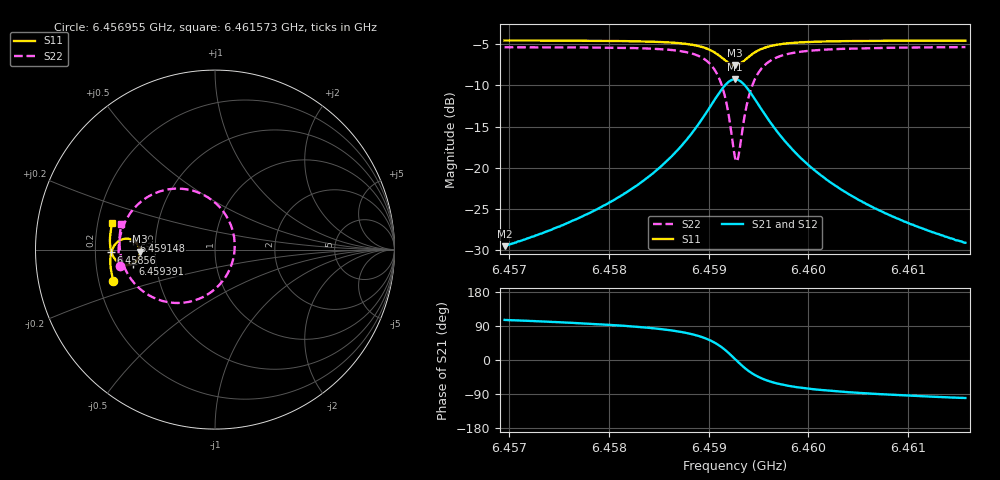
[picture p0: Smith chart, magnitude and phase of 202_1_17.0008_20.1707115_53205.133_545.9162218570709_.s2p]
#  HZ  S  RI  R  50.00
! Rohde & Schwarz Vector Network Analyzer
! Rohde-Schwarz,ZNB20-2Port,1311601062101988,3.16
! Created: UTC 3/20/2024, 11:01:06 PM
! freq[Hz]  re:S11  im:S11  re:S21  im:S21  re:S12  im:S12  re:S22  im:S22
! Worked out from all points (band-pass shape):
!   401 points, 6.456955 GHz to 6.461573 GHz, reference 50 ohm
!   highest |S21| = -9.26 dB at 6.459264 GHz (marker M1); lowest = -29.5 dB at 6.456955 GHz (marker M2)
!   |S21| within 3 dB of the highest: 6.459033 GHz to 6.459494 GHz (461.6 kHz wide, 0.00715 % of centre)
!   lowest |S11| = -7.6 dB at 6.459264 GHz (marker M3), VSWR 2.44, Z = 20.5 - j0.602 ohm
!   |S11| at or under -10 dB: nowhere
!   |S22| runs from -19.2 to -5.4 dB; largest |S21 - S12| = 0.013
!   S11 on the Smith chart (normalised r, x): 6.456955 GHz: 0.26, -0.14; 6.45856 GHz: 0.27, -0.01; 6.459148 GHz: 0.37, +0.05; 6.459391 GHz: 0.37, -0.07; 6.461573 GHz: 0.26, +0.12
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6.4569549e9  -0.5658 -0.1751  -0.00911 0.0322  -0.00737 0.0324  -0.5309 -0.0896
6.4577284e9  -0.5801 -0.1076  -0.00582 0.0502  -0.0035 0.0496  -0.5373 0.000715
6.458144e9  -0.5832 -0.0661  -0.000472 0.0689  0.0029 0.0676  -0.5301 0.066
6.4585019e9  -0.5796 -0.0235  0.0136 0.0985  0.0176 0.0959  -0.5048 0.1459
6.4585596e9  -0.5778 -0.0156  0.0179 0.1054  0.0219 0.1024  -0.4967 0.1626
6.4587674e9  -0.5649 0.0167  0.0453 0.1379  0.0493 0.1331  -0.4458 0.2356
6.4589175e9  -0.5425 0.043  0.0902 0.1686  0.0934 0.1619  -0.3629 0.3003
6.4590561e9  -0.4988 0.0608  0.1773 0.1854  0.1782 0.1781  -0.2043 0.3397
6.4591484e9  -0.4543 0.0506  0.2672 0.1546  0.2673 0.1487  -0.0381 0.2902
6.4592177e9  -0.4251 0.0189  0.3274 0.0831  0.3297 0.0778  0.0774 0.1617
6.4592639e9  -0.4183 -0.0121  0.3441 0.0155  0.3476 0.00858  0.1097 0.0355
6.4592754e9  -0.4187 -0.0202  0.344 -0.00228  0.3478 -0.00971  0.1095 0.00219
6.4592985e9  -0.4222 -0.0357  0.3386 -0.0368  0.3422 -0.0458  0.0987 -0.0633
6.4593447e9  -0.4376 -0.0618  0.3103 -0.0964  0.3123 -0.1083  0.0417 -0.1759
6.4593909e9  -0.4596 -0.0779  0.2683 -0.1375  0.2678 -0.1507  -0.0425 -0.2507
6.4594832e9  -0.5028 -0.0849  0.1842 -0.1689  0.1782 -0.1803  -0.21 -0.2975
6.4596333e9  -0.5465 -0.0646  0.0966 -0.1554  0.0883 -0.1618  -0.377 -0.2492
6.4597949e9  -0.5681 -0.0368  0.0518 -0.1279  0.0443 -0.1307  -0.4575 -0.1778
6.4600374e9  -0.5809 -0.00139  0.0227 -0.0968  0.0169 -0.0973  -0.5056 -0.0959
6.4603722e9  -0.5854 0.0384  0.00698 -0.0708  0.00285 -0.0703  -0.5272 -0.0192
6.4608109e9  -0.5838 0.0824  -0.00112 -0.0516  -0.00409 -0.0508  -0.5321 0.051
6.4615728e9  -0.5717 0.1499  -0.00626 -0.0345  -0.0081 -0.0335  -0.5211 0.1408
